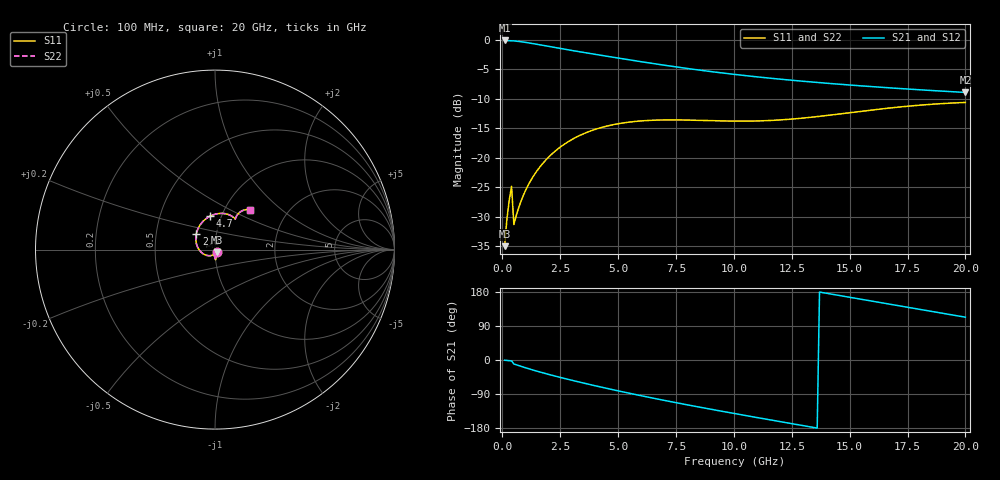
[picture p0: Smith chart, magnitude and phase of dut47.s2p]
! Created with skrf 1.9.0 (http://scikit-rf.org).
# GHz S RI R 50.0
!freq ReS11 ImS11 ReS21 ImS21 ReS12 ImS12 ReS22 ImS22
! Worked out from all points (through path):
!   200 points, 100 MHz to 20 GHz, reference 50 ohm
!   highest |S21| = -0.10 dB at 100 MHz (marker M1); lowest = -8.9 dB at 20 GHz (marker M2)
!   group delay of S21, straight-line fit = 32.6 ps
!   lowest |S11| = -35.0 dB at 100 MHz (marker M3), VSWR 1.04, Z = 51 - j1.48 ohm
!   |S11| at or under -10 dB: start of sweep to end of sweep
!   |S22| runs from -35.0 to -10.6 dB; largest |S21 - S12| = 1.8e-15
!   S11 on the Smith chart (normalised r, x): 100 MHz: 1.02, -0.03; 2.8 GHz: 0.80, +0.14; 4.7 GHz: 0.89, +0.34; 20 GHz: 1.30, +0.63
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0.1  0.0101 -0.0145  0.9888 -0.0104  0.9888 -0.0104  0.0101 -0.0145
0.2  0.00874 -0.0289  0.9872 -0.0206  0.9872 -0.0206  0.00874 -0.0289
0.3  0.00644 -0.0431  0.9845 -0.0304  0.9845 -0.0304  0.00644 -0.0431
0.4  0.00324 -0.057  0.9808 -0.0398  0.9808 -0.0398  0.00324 -0.057
0.5  -0.00602 -0.0264  0.9641 -0.1792  0.9641 -0.1792  -0.00602 -0.0264
0.7  -0.0183 -0.0323  0.9396 -0.2446  0.9396 -0.2446  -0.0183 -0.0323
0.9  -0.0327 -0.0342  0.9095 -0.3048  0.9095 -0.3048  -0.0327 -0.0342
1.4  -0.0693 -0.021  0.8178 -0.4313  0.8178 -0.4313  -0.0693 -0.021
2  -0.0992 0.019  0.694 -0.5421  0.694 -0.5421  -0.0992 0.019
2.8  -0.1047 0.0849  0.5258 -0.6372  0.5258 -0.6372  -0.1047 0.0849
3.5  -0.0845 0.135  0.3827 -0.6831  0.3827 -0.6831  -0.0845 0.135
4.7  -0.0259 0.1871  0.1562 -0.6992  0.1562 -0.6992  -0.0259 0.1871
5.8  0.0278 0.2016  -0.0208 -0.6615  -0.0208 -0.6615  0.0278 0.2016
6.8  0.0653 0.1982  -0.1519 -0.5986  -0.1519 -0.5986  0.0653 0.1982
8.4  0.0995 0.1822  -0.3043 -0.4672  -0.3043 -0.4672  0.0995 0.1822
10.1  0.1115 0.1711  -0.4001 -0.3117  -0.4001 -0.3117  0.1115 0.1711
11.7  0.1142 0.173  -0.44 -0.1652  -0.44 -0.1652  0.1142 0.173
13.4  0.1193 0.1859  -0.4379 -0.0186  -0.4379 -0.0186  0.1193 0.1859
15  0.1312 0.2018  -0.4005 0.1036  -0.4005 0.1036  0.1312 0.2018
16.7  0.151 0.2159  -0.3307 0.2099  -0.3307 0.2099  0.151 0.2159
18.4  0.174 0.2227  -0.2384 0.2867  -0.2384 0.2867  0.174 0.2227
20  0.1933 0.2219  -0.1396 0.3294  -0.1396 0.3294  0.1933 0.2219
